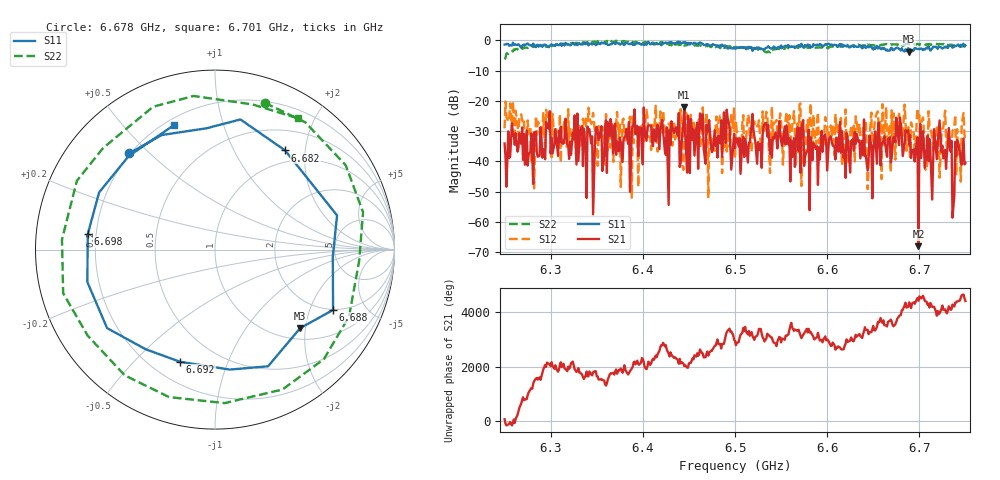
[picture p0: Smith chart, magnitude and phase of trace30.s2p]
# Hz S RI R 50
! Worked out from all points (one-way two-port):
!   401 points, 6.25 GHz to 6.75 GHz, reference 50 ohm
!   highest |S21| = -22.12 dB at 6.445 GHz (marker M1); lowest = -67.9 dB at 6.699 GHz (marker M2)
!   lowest |S11| = -3.8 dB at 6.689 GHz (marker M3), VSWR 4.64, Z = 62.4 - j93.6 ohm
!   |S11| at or under -10 dB: nowhere
!   |S22| runs from -6.3 to -0.1 dB; largest |S21 - S12| = 0.12
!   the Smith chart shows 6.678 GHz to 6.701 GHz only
!   S11 on the Smith chart (normalised r, x): 6.678 GHz: 0.20, +0.43; 6.682 GHz: 0.80, +1.63; 6.688 GHz: 1.97, -2.92; 6.692 GHz: 0.31, -0.69; 6.698 GHz: 0.17, +0.06; 6.701 GHz: 0.23, +0.70
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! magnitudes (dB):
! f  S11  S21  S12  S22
! 6.25 GHz  -1.5  -34.1  -29.1  -6.3
! 6.28 GHz  -2.1  -37.8  -33.9  -2.1
! 6.298 GHz  -2.3  -29.2  -27.1  -1.6
! 6.334 GHz  -1.4  -28.4  -34.0  -1.1
! 6.418 GHz  -1.2  -35.9  -30.2  -1.5
! 6.425 GHz  -0.8  -37.8  -35.0  -0.8
! 6.445 GHz  -0.9  -22.1  -28.4  -1.8
! 6.5 GHz  -2.7  -35.6  -39.0  -2.3
! 6.556 GHz  -1.9  -28.1  -23.7  -2.1
! 6.575 GHz  -2.2  -41.5  -38.9  -2.4
! 6.584 GHz  -2.2  -39.6  -37.0  -2.5
! 6.668 GHz  -3.4  -32.0  -27.7  -1.4
! 6.678 GHz  -2.9  -34.6  -24.3  -1.3
! 6.682 GHz  -3.4  -38.2  -31.6  -1.9
! 6.688 GHz  -2.6  -29.7  -28.7  -1.3
! 6.689 GHz  -3.8  -34.4  -34.1  -1.3
! 6.692 GHz  -3.7  -36.3  -28.2  -1.1
! 6.698 GHz  -2.9  -32.0  -22.5  -1.2
! 6.699 GHz  -2.9  -67.9  -26.0  -1.3
! 6.701 GHz  -2.7  -27.6  -32.1  -1.3
! 6.742 GHz  -1.5  -33.6  -37.7  -1.5
! 6.75 GHz  -1.7  -40.5  -32.9  -2.4
